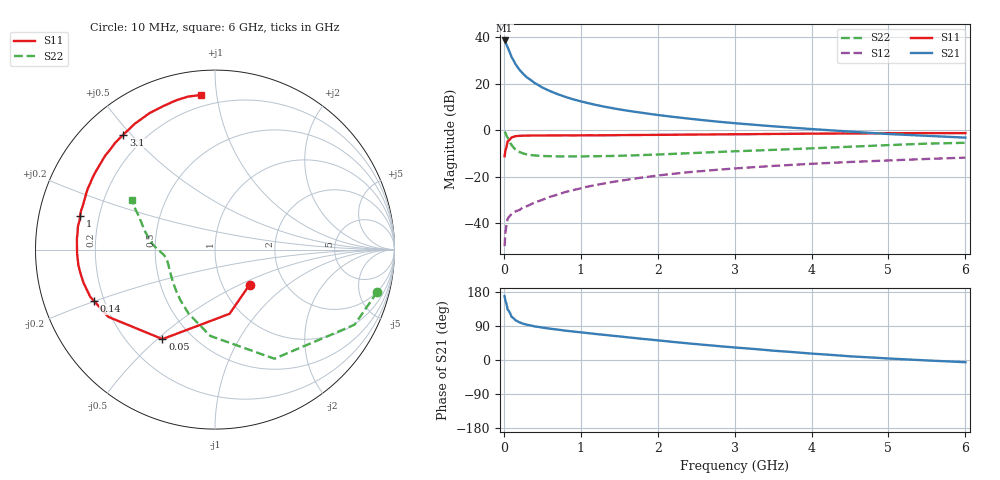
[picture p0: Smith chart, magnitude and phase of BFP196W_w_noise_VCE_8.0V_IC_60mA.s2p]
! (c) 2017  Infineon Technologies AG, Munich
! Infineon Technologies  Discrete & RF Semiconductors
! BFP196W
! VCE =  8.0 V,  IC =  60 mA
! Common Emitter S-Parameters:  Jan 2017
# GHz  S  MA  R  50
!  f  S11  S21  S12  S22
! GHz  MAG  ANG  MAG  ANG  MAG  ANG  MAG  ANG
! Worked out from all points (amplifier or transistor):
!   77 points, 10 MHz to 6 GHz, reference 50 ohm
!   highest |S21| = 38.6 dB at 10 MHz (marker M1)
!   |S21| within 3 dB of that: start of sweep to 49.69 MHz
!   unconditionally stable (mu >= 1): 653.2 MHz to 3.232 GHz
!   at 130 MHz: K = 0.44, MSG = 32.6 dB, |S12| = -35.3 dB
!   at 2.2 GHz: K = 1.04, MAG = 11.0 dB, |S12| = -18.8 dB
!   at 6 GHz: K = 0.93, MSG = 4.3 dB, |S12| = -11.8 dB
!   lowest NFmin = 1.47 dB at 450 MHz
!   S11 on the Smith chart (normalised r, x): 10 MHz: 1.34, -0.57; 50 MHz: 0.35, -0.52; 140 MHz: 0.16, -0.20; 1 GHz: 0.13, +0.12; 3.1 GHz: 0.12, +0.48; 6 GHz: 0.13, +0.90
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0.01  0.2747 -45.4  85.21 168.5  0.0032 78.4  0.9348 -14.6
0.02  0.3666 -77.2  80.03 157.2  0.0062 72.9  0.8828 -28.3
0.05  0.5781 -120.4  60.17 133.2  0.0125 48.4  0.6924 -61.4
0.1  0.7029 -147.8  37.63 114.0  0.0158 44.4  0.4817 -93.1
0.14  0.7331 -157.1  28.69 107.4  0.0175 42.4  0.4015 -107.7
0.15  0.7435 -159.3  26.54 105.1  0.0179 42.0  0.3865 -112.2
0.2  0.7555 -165.8  20.27 99.6  0.0191 44.7  0.3424 -124.1
0.25  0.7617 -170.3  16.36 95.8  0.0219 46.2  0.3162 -133.1
0.3  0.7661 -173.5  13.68 93.1  0.0232 49.5  0.3016 -139.4
0.4  0.7687 -178.2  10.36 88.7  0.0277 54.1  0.2862 -148.1
0.5  0.7697 178.0  8.301 85.5  0.0318 57.2  0.2787 -153.8
0.6  0.7718 175.3  6.937 82.6  0.0369 58.6  0.2759 -157.9
0.7  0.7714 172.7  5.944 80.2  0.0412 60.7  0.2733 -160.8
0.8  0.7748 170.3  5.211 77.5  0.0468 62.8  0.2728 -162.9
1  0.775 165.9  4.176 73.0  0.0562 63.1  0.2732 -166.6
1.1  0.7771 163.8  3.806 70.8  0.0617 62.7  0.2747 -167.7
1.5  0.7834 156.1  2.804 62.3  0.0811 62.0  0.2816 -172.3
2.1  0.7958 144.7  2.03 49.8  0.1105 58.2  0.3046 -177.9
3.1  0.8192 128.5  1.372 31.5  0.1542 49.7  0.3568 173.5
4.1  0.8441 114.4  1.033 15.6  0.1927 41.3  0.4136 163.5
5.1  0.8604 103.6  0.813 3.0  0.2269 33.4  0.4851 154.2
6  0.8646 95.3  0.692 -5.9  0.2569 26.3  0.5359 149.3
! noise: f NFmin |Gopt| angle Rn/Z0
0.45  1.47  0.52  -176  0.06
0.9  1.59  0.56  -170  0.07
1.9  2.42  0.69  -149  0.17
2.4  2.81  0.73  -144  0.27
